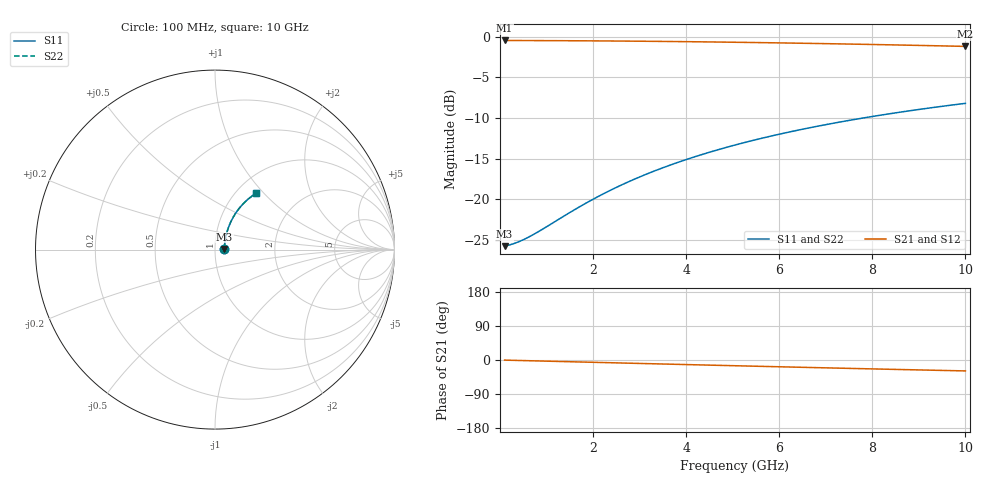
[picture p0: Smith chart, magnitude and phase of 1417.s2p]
# Hz S RI R 50.00
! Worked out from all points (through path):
!   100 points, 100 MHz to 10 GHz, reference 50 ohm
!   highest |S21| = -0.46 dB at 100 MHz (marker M1); lowest = -1.2 dB at 10 GHz (marker M2)
!   group delay of S21, straight-line fit = 8.03 ps
!   lowest |S11| = -25.8 dB at 100 MHz (marker M3), VSWR 1.11, Z = 55.4 + j0.443 ohm
!   |S11| at or under -10 dB: start of sweep to 7.8 GHz
!   |S22| runs from -25.8 to -8.2 dB; largest |S21 - S12| = 0
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1e8  0.0514 0.00399  0.9486 -0.00504  0.9486 -0.00504  0.0514 0.00399
3e8  0.0521 0.012  0.9479 -0.0151  0.9479 -0.0151  0.0521 0.012
4e8  0.0524 0.0159  0.9476 -0.0201  0.9476 -0.0201  0.0524 0.0159
6e8  0.0531 0.0239  0.9468 -0.0302  0.9468 -0.0302  0.0531 0.0239
9e8  0.0544 0.0357  0.9455 -0.0452  0.9455 -0.0452  0.0544 0.0357
1.5e9  0.058 0.0593  0.9419 -0.0751  0.9419 -0.0751  0.058 0.0593
1.8e9  0.0602 0.0709  0.9396 -0.0899  0.9396 -0.0899  0.0602 0.0709
2.2e9  0.0638 0.0863  0.9359 -0.1095  0.9359 -0.1095  0.0638 0.0863
2.6e9  0.0679 0.1015  0.9317 -0.1289  0.9317 -0.1289  0.0679 0.1015
3e9  0.0727 0.1164  0.9268 -0.148  0.9268 -0.148  0.0727 0.1164
3.4e9  0.078 0.131  0.9213 -0.1669  0.9213 -0.1669  0.078 0.131
3.8e9  0.0839 0.1454  0.9152 -0.1855  0.9152 -0.1855  0.0839 0.1454
4.2e9  0.0904 0.1594  0.9086 -0.2037  0.9086 -0.2037  0.0904 0.1594
4.6e9  0.0974 0.1731  0.9014 -0.2216  0.9014 -0.2216  0.0974 0.1731
5.1e9  0.1068 0.1896  0.8917 -0.2435  0.8917 -0.2435  0.1068 0.1896
5.5e9  0.1149 0.2024  0.8833 -0.2605  0.8833 -0.2605  0.1149 0.2024
5.9e9  0.1234 0.2147  0.8745 -0.2771  0.8745 -0.2771  0.1234 0.2147
6.7e9  0.1417 0.2381  0.8557 -0.309  0.8557 -0.309  0.1417 0.2381
7.5e9  0.1614 0.2596  0.8353 -0.3391  0.8353 -0.3391  0.1614 0.2596
8.4e9  0.1851 0.2815  0.8108 -0.3705  0.8108 -0.3705  0.1851 0.2815
9.2e9  0.2071 0.2988  0.7879 -0.3964  0.7879 -0.3964  0.2071 0.2988
1e10  0.2299 0.3141  0.7642 -0.4203  0.7642 -0.4203  0.2299 0.3141
